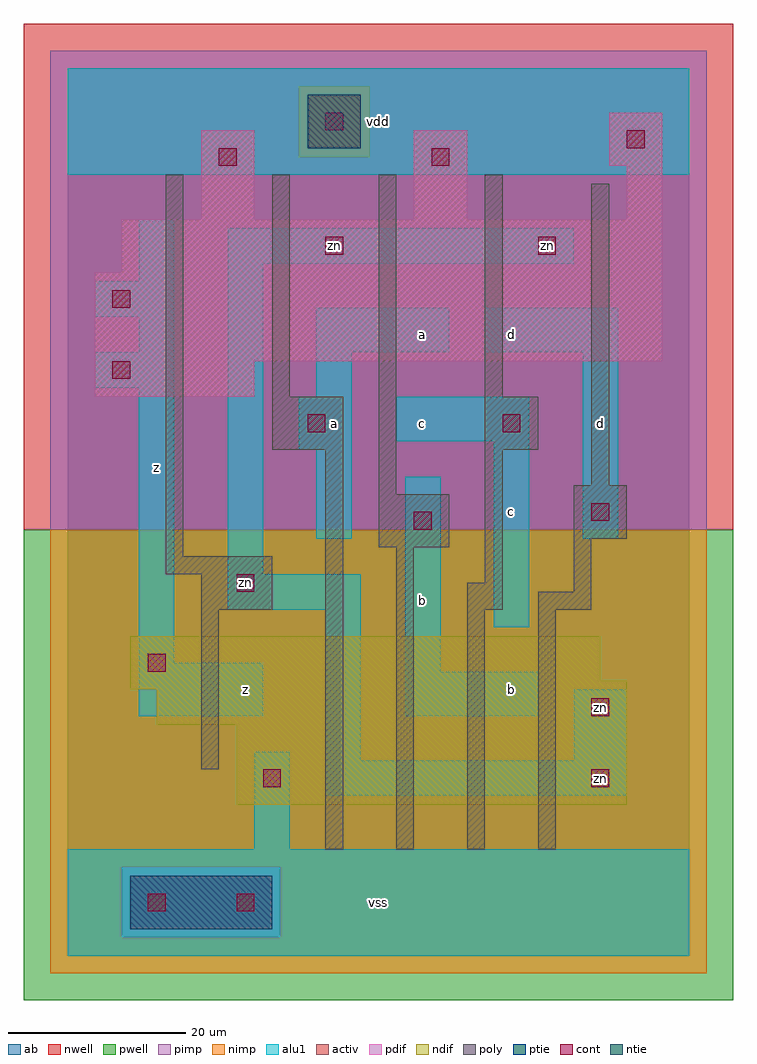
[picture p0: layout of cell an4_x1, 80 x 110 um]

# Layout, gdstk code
import gdstk
lib = gdstk.Library(unit=1e-6, precision=1e-09)
def R(c, l, rs):  # rectangles x0, y0, x1, y1
    for r in rs: c.add(gdstk.rectangle(r[:2], r[2:], *l))
ndif = (3, 0)
pdif = (4, 0)
ntie = (5, 0)
ptie = (6, 0)
cont = (25, 0)
pwell = (41, 0)
nwell = (42, 0)
activ = (43, 0)
pimp = (44, 0)
nimp = (45, 0)
poly = (46, 0)
alu1 = (49, 0)
ab = (63, 0)

an4_x1 = lib.new_cell('an4_x1')
R(an4_x1, ndif, [(19,17,63,26), (10,26,63,30), (7,30,63,31), (7,31,60,36)])
R(an4_x1, pdif, [(3,63,21,67), (3,67,67,77), (6,77,67,83), (15,83,21,93), (39,83,45,93), (63,83,67,89), (61,89,67,95)])
R(an4_x1, ntie, [(27,91,33,97)])
R(an4_x1, ptie, [(7,3,23,9)])
R(an4_x1, cont, [(9,5,11,7), (19,5,21,7), (22,19,24,21), (59,19,61,21), (59,27,61,29), (9,32,11,34), (19,41,21,43), (39,48,41,50), (59,49,61,51), (27,59,29,61), (49,59,51,61), (5,65,7,67), (5,73,7,75), (29,79,31,81), (53,79,55,81), (17,89,19,91), (41,89,43,91), (63,91,65,93), (29,93,31,95)])
R(an4_x1, pwell, [(-5,-5,75,48)])
R(an4_x1, nwell, [(-5,48,75,105)])
R(an4_x1, activ, [(7,3,23,9), (19,17,63,26), (10,26,63,30), (7,30,63,31), (7,31,60,36), (3,63,21,67), (3,67,67,77), (6,77,67,83), (15,83,21,93), (39,83,45,93), (63,83,67,89), (61,89,67,95), (27,91,33,97)])
R(an4_x1, pimp, [(6,2,24,10), (-2,48,72,90), (-2,90,26,98), (34,90,72,98), (-2,98,72,102)])
R(an4_x1, nimp, [(-2,-2,72,2), (-2,2,6,10), (24,2,72,10), (-2,10,72,48), (26,90,34,98)])
R(an4_x1, poly, [(29,12,31,57), (37,12,39,46), (45,12,47,39), (53,12,55,39), (15,21,17,39), (15,39,23,43), (45,39,49,42), (53,39,59,41), (57,41,59,47), (47,42,49,57), (11,43,23,45), (11,45,13,88), (35,46,43,52), (57,47,63,53), (35,52,37,88), (59,53,61,87), (23,57,31,63), (47,57,53,63), (23,63,25,88), (47,63,49,88)])
R(an4_x1, alu1, [(0,0,70,12), (21,12,25,23), (29,18,63,22), (29,22,33,39), (57,22,63,30), (8,27,22,33), (38,27,53,32), (38,32,42,54), (8,33,12,64), (48,37,52,58), (18,39,33,43), (18,43,22,78), (28,47,32,57), (58,47,62,68), (26,57,32,63), (37,58,52,63), (28,63,32,68), (3,64,12,68), (8,68,12,72), (28,68,43,73), (47,68,62,73), (3,72,12,76), (8,76,12,83), (18,78,57,82), (0,88,70,100)])
R(an4_x1, ab, [(0,0,70,100)])
an4_x1.add(gdstk.Label('zn', (20,42), layer=49, texttype=0))
an4_x1.add(gdstk.Label('zn', (30,80), layer=49, texttype=0))
an4_x1.add(gdstk.Label('zn', (60,20), layer=49, texttype=0))
an4_x1.add(gdstk.Label('zn', (60,28), layer=49, texttype=0))
an4_x1.add(gdstk.Label('zn', (54,80), layer=49, texttype=0))
an4_x1.add(gdstk.Label('z', (10,55), layer=49, texttype=0))
an4_x1.add(gdstk.Label('z', (20,30), layer=49, texttype=0))
an4_x1.add(gdstk.Label('a', (30,60), layer=49, texttype=0))
an4_x1.add(gdstk.Label('vss', (35,6), layer=49, texttype=0))
an4_x1.add(gdstk.Label('b', (40,40), layer=49, texttype=0))
an4_x1.add(gdstk.Label('b', (50,30), layer=49, texttype=0))
an4_x1.add(gdstk.Label('c', (50,50), layer=49, texttype=0))
an4_x1.add(gdstk.Label('d', (50,70), layer=49, texttype=0))
an4_x1.add(gdstk.Label('a', (40,70), layer=49, texttype=0))
an4_x1.add(gdstk.Label('c', (40,60), layer=49, texttype=0))
an4_x1.add(gdstk.Label('vdd', (35,94), layer=49, texttype=0))
an4_x1.add(gdstk.Label('d', (60,60), layer=49, texttype=0))

lib.write_gds('an4_x1.gds')
